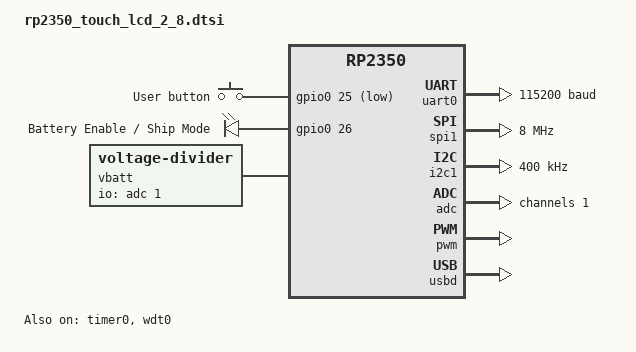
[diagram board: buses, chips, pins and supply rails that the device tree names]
/*
 * Copyright (c) 2025 Your Name
 *
 * SPDX-License-Identifier: Apache-2.0
 */

#include <freq.h>

#include <zephyr/dt-bindings/i2c/i2c.h>
#include <zephyr/dt-bindings/pwm/pwm.h>
#include <zephyr/dt-bindings/gpio/gpio.h>
#include <zephyr/dt-bindings/input/input-event-codes.h>

#include "rp2350_touch_lcd_2_8-pinctrl.dtsi"

/ {
	chosen {
		zephyr,sram = &sram0;
		zephyr,flash = &flash0;
		zephyr,flash-controller = &qmi;
		zephyr,console = &uart0;
		zephyr,shell-uart = &uart0;
	};

	aliases {
		watchdog0 = &wdt0;
		sw0 = &button0;
	};

	/* GPIO Keys/Buttons */
	gpio_keys {
		compatible = "gpio-keys";

		button0: button_0 {
			gpios = <&gpio0 25 (GPIO_PULL_UP | GPIO_ACTIVE_LOW)>;
			label = "User button";
			zephyr,code = <INPUT_KEY_0>;
		};
	};

	/* GPIO outputs */
	gpio_controls {
		compatible = "gpio-leds";

		bat_enable: bat_en {
			gpios = <&gpio0 26 GPIO_ACTIVE_HIGH>;
			label = "Battery Enable / Ship Mode";
		};
	};

	/* Battery voltage divider sensor */
	vbatt: vbatt {
		compatible = "voltage-divider";
		io-channels = <&adc 1>;
		output-ohms = <100000>;
		full-ohms = <(200000 + 100000)>;
	};
};

&flash0 {
	reg = <0x10000000 DT_SIZE_M(16)>;

	partitions {
		compatible = "fixed-partitions";
		#address-cells = <1>;
		#size-cells = <1>;

		/* Reserved memory for the second stage bootloader */
		second_stage_bootloader: partition@0 {
			label = "second_stage_bootloader";
			reg = <0x00000000 0x100>;
			read-only;
		};

		/*
		 * Usable flash. Starts at 0x100, after the bootloader. The partition
		 * size is 16MB minus the 0x100 bytes taken by the bootloader.
		 */
		code_partition: partition@100 {
			label = "code-partition";
			reg = <0x100 (DT_SIZE_M(16) - 0x100)>;
			read-only;
		};
	};
};

&uart0 {
	current-speed = <115200>;
	status = "okay";
	pinctrl-0 = <&uart0_default>;
	pinctrl-names = "default";
};

gpio0_lo: &gpio0 {
	status = "okay";
};

&spi1 {
	clock-frequency = <DT_FREQ_M(8)>;
	pinctrl-0 = <&spi1_default>;
	pinctrl-names = "default";
	status = "okay";
};

&i2c1 {
	clock-frequency = <I2C_BITRATE_FAST>;
	pinctrl-0 = <&i2c1_default>;
	pinctrl-names = "default";
	status = "okay";
};

&adc {
	pinctrl-0 = <&adc_default>;
	pinctrl-names = "default";
	status = "okay";
	#address-cells = <1>;
	#size-cells = <0>;

	channel@1 {
		reg = <1>;
		zephyr,gain = "ADC_GAIN_1";
		zephyr,reference = "ADC_REF_INTERNAL";
		zephyr,acquisition-time = <ADC_ACQ_TIME_DEFAULT>;
		zephyr,resolution = <12>;
	};
};

&pwm {
	pinctrl-0 = <&pwm_lcd_default>;
	pinctrl-names = "default";
	divider-int-0 = <255>;
	status = "okay";
};

&timer0 {
	status = "okay";
};

&wdt0 {
	status = "okay";
};

zephyr_udc0: &usbd {
	status = "okay";
};
